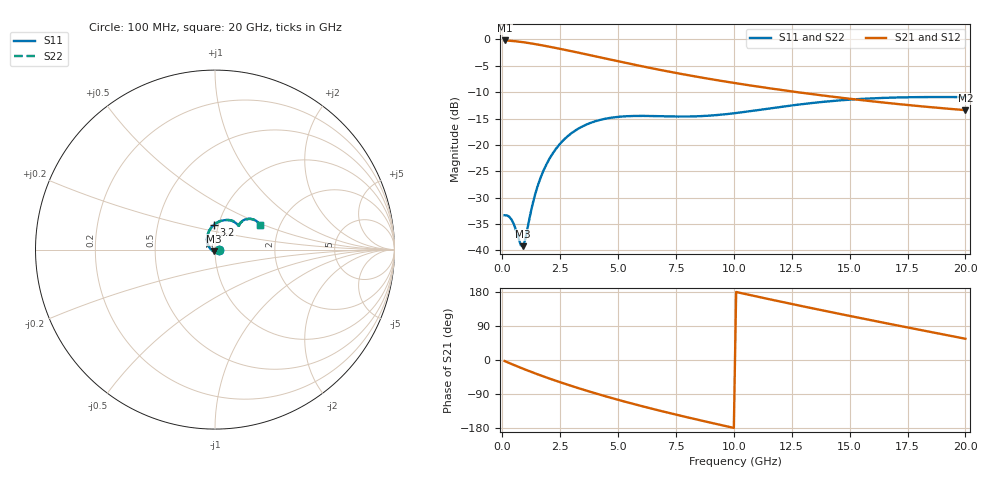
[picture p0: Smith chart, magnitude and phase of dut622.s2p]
! Touchstone file exported from HFSS 2024.1.0
!  File:  C:/UserFiles/LocalFiles/RDL_TSV_Batchsim/temp_RDL_TSV_622_1779802203.aedt
!  Generated:  09:45:42 PM May 26, 2026
!  Design:  RDL_TSV
!  Project:  temp_RDL_TSV_622_1779802203
!  Setup:  Setup1
!  Solution:  Sweep
! Variables:
!  dtsv = 12.7um
!  hbump = 3um
!  htsv = 92.19um
!  ldown = 696.66um
!  lrdl = 577.04um
!  p = 40
!  p1 = 47.56um
!  rhole = 10um
!  subl = 4398.14um
!  t = 450um
!  tdown = 4.62um
!  trdl = 2.31um
!  viad = 10um
!  wdown = 20.25um
!  wrdl = 26.65um
!  xbump = 18um
# GHz S MA R 50.000000
! Terminal data exported
! Port[1] = TM1_1_T1
! Port[2] = TM1_4_T1
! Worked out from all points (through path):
!   200 points, 100 MHz to 20 GHz, reference 50 ohm
!   highest |S21| = -0.20 dB at 100 MHz (marker M1); lowest = -13.4 dB at 20 GHz (marker M2)
!   group delay of S21, straight-line fit = 40.1 ps
!   lowest |S11| = -39.2 dB at 900 MHz (marker M3), VSWR 1.02, Z = 49.5 - j0.963 ohm
!   |S11| at or under -10 dB: start of sweep to end of sweep
!   |S22| runs from -39.2 to -10.9 dB; largest |S21 - S12| = 9.1e-15
!   S11 on the Smith chart (normalised r, x): 100 MHz: 1.04, -0.00; 3.2 GHz: 0.95, +0.27; 20 GHz: 1.58, +0.47
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0.1  0.02152 -4.0  0.9776 -2.7  0.9776 -2.7  0.02152 -4.0
! Gamma 0 0 0 0
! Port Impedance 50 0 50 0
0.4  0.01957 -24.6  0.9681 -10.6  0.9681 -10.6  0.01953 -24.6
0.8  0.0112 -87.7  0.9475 -20.6  0.9475 -20.6  0.01111 -88.4
0.9  0.01096 -117.4  0.9412 -23.0  0.9412 -23.0  0.01093 -118.5
1  0.01289 -145.5  0.9345 -25.5  0.9345 -25.5  0.01296 -146.6
1.2  0.02141 179.1  0.9202 -30.2  0.9202 -30.2  0.02166 178.5
1.4  0.0328 159.9  0.9048 -34.9  0.9048 -34.9  0.03318 159.5
1.8  0.0584 136.8  0.8724 -43.8  0.8724 -43.8  0.05904 136.6
2.4  0.09675 113.9  0.8222 -56.6  0.8222 -56.6  0.09776 113.7
3.2  0.139 91.9  0.7561 -72.6  0.7561 -72.6  0.1404 91.8
3.5  0.1512 85.2  0.732 -78.3  0.732 -78.3  0.1528 85.1
4.3  0.1741 70.5  0.6707 -93.0  0.6707 -93.0  0.1761 70.4
5.1  0.1852 59.7  0.6145 -106.7  0.6145 -106.7  0.1874 59.6
5.9  0.1883 52.2  0.5642 -119.8  0.5642 -119.8  0.1906 52.1
6.8  0.1871 47.3  0.5147 -133.7  0.5147 -133.7  0.1894 47.1
8.3  0.1864 45.3  0.4468 -155.6  0.4468 -155.6  0.1884 44.8
10.1  0.2005 46.6  0.3839 179.4  0.3839 179.4  0.2021 46.1
11.7  0.224 46.1  0.3401 158.2  0.3401 158.2  0.2252 45.7
13.4  0.2498 43.2  0.3025 136.3  0.3025 136.3  0.2508 42.8
15  0.2685 39.2  0.2737 116.3  0.2737 116.3  0.2695 38.8
16.7  0.2801 34.8  0.2489 95.6  0.2489 95.6  0.2812 34.5
20  0.2838 28.8  0.2135 56.1  0.2135 56.1  0.2849 28.5
